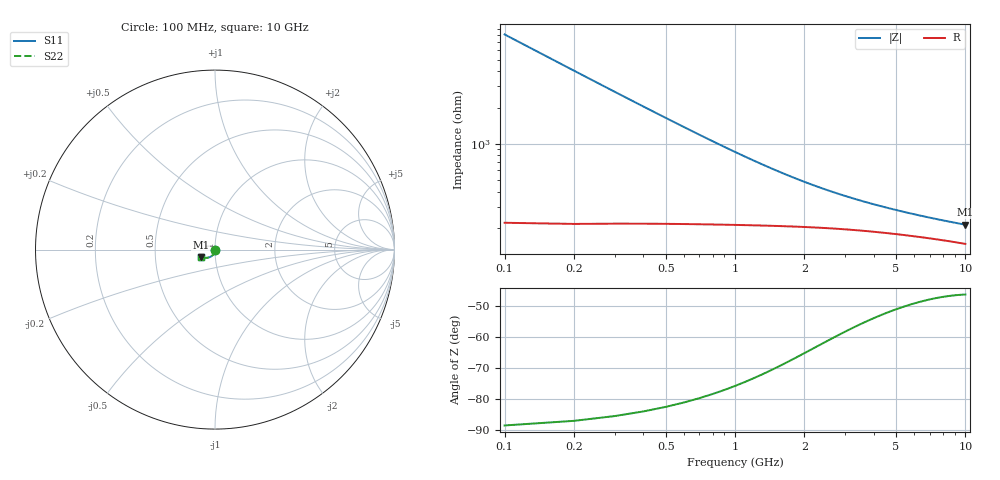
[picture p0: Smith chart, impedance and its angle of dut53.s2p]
! Touchstone file exported from HFSS 2024.1.0
!  File:  C:/UserFiles/LocalFiles/RDL_TSV_Batchsim/temp_TSV1_53_1778748796.aedt
!  Generated:  04:57:36 PM May 14, 2026
!  Design:  TSV1
!  Project:  temp_TSV1_53_1778748796
!  Setup:  Setup1
!  Solution:  Sweep
! Variables:
!  dtsv = 17.8um
!  hbump = 3um
!  htsv = 91.12um
!  lrdl = 252.1521522um
!  p = 40
!  p1 = 50.97um
!  t = 500um
!  trdl = 3um
!  wrdl = 24.89489489um
# GHz S MA R 50.000000
! Terminal data exported
! Port[1] = TSV22_T1
! Port[2] = TSV22_T2
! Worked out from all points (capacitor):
!   100 points, 100 MHz to 10 GHz, reference 50 ohm
!   read as one part in shunt: C = 196 fF near 100 MHz
!   lowest |Z| = 212 ohm at 10 GHz (marker M1)
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0.1  0.002718 -90.2  0.9998 -0.2  0.9998 -0.2  0.002718 -90.2
! Gamma 0 0 0 0
! Port Impedance 50 0 50 0
0.2  0.005451 -92.7  0.9995 -0.4  0.9995 -0.4  0.005451 -92.7
0.3  0.008166 -94.8  0.9991 -0.6  0.9991 -0.6  0.008166 -94.8
0.4  0.01085 -96.7  0.9985 -0.8  0.9985 -0.8  0.01085 -96.7
0.5  0.01349 -98.6  0.9977 -1.0  0.9977 -1.0  0.01349 -98.6
0.6  0.01608 -100.4  0.9968 -1.1  0.9968 -1.1  0.01608 -100.4
0.7  0.01861 -102.2  0.9958 -1.3  0.9958 -1.3  0.01861 -102.2
0.8  0.02109 -103.9  0.9947 -1.5  0.9947 -1.5  0.02109 -103.9
0.9  0.02349 -105.6  0.9935 -1.6  0.9935 -1.6  0.02349 -105.6
1.1  0.02808 -108.8  0.9909 -1.9  0.9909 -1.9  0.02808 -108.8
1.4  0.03439 -113.2  0.9865 -2.4  0.9865 -2.4  0.03439 -113.2
1.6  0.0382 -115.9  0.9835 -2.6  0.9835 -2.6  0.0382 -115.9
1.8  0.04172 -118.4  0.9805 -2.8  0.9805 -2.8  0.04172 -118.4
2.1  0.04647 -121.8  0.976 -3.1  0.976 -3.1  0.04647 -121.8
2.5  0.05194 -125.7  0.9703 -3.4  0.9703 -3.4  0.05194 -125.7
2.9  0.0566 -129.1  0.9651 -3.7  0.9651 -3.7  0.0566 -129.1
3.4  0.06152 -132.6  0.9594 -4.0  0.9594 -4.0  0.06152 -132.6
4.2  0.06786 -137.0  0.9515 -4.3  0.9515 -4.3  0.06786 -137.0
5.1  0.07343 -140.9  0.9444 -4.7  0.9444 -4.7  0.07343 -140.9
6.7  0.08075 -145.9  0.9347 -5.3  0.9347 -5.3  0.08075 -145.9
8.4  0.08623 -149.6  0.9274 -5.8  0.9274 -5.8  0.08623 -149.6
10  0.09004 -152.1  0.9223 -6.4  0.9223 -6.4  0.09004 -152.1
